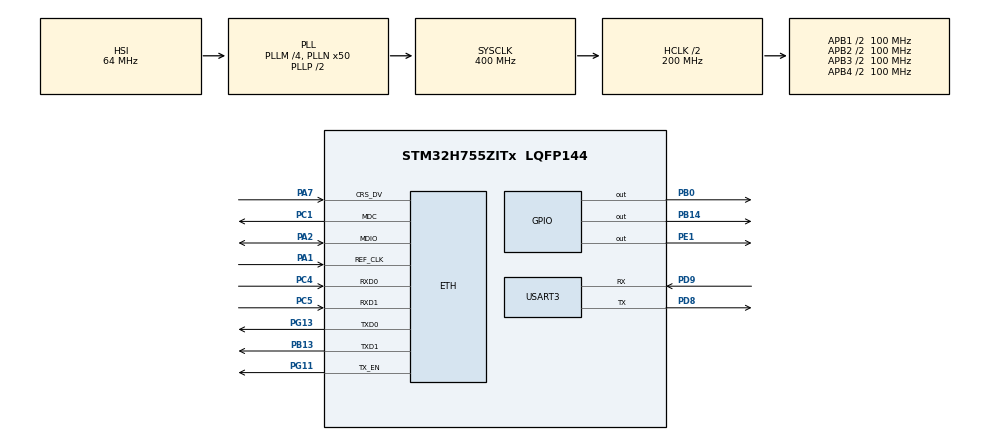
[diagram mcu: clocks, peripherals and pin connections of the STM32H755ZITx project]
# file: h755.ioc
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CortexM4.IPs=BDMA,CORTEX_M4\:I,DEBUG,DMA,FATFS_M4\:I,FREERTOS_M4\:I,GPIO,IWDG2\:I,MDMA,NVIC2\:I,OPENAMP_M4\:I,PDM2PCM_M4\:I,PWR,RCC,RESMGR_UTILITY,SYS_M4\:I,USB_DEVICE_M4\:I,USB_HOST_M4\:I,VREFBUF,WWDG2\:I
CortexM7.IPs=BDMA\:I,CORTEX_M7\:I,DEBUG\:I,DMA\:I,FATFS_M7\:I,FREERTOS_M7\:I,GPIO\:I,IWDG1\:I,MDMA\:I,NVIC1\:I,OPENAMP_M7\:I,PDM2PCM_M7\:I,PWR\:I,RCC\:I,RESMGR_UTILITY\:I,SYS\:I,USB_DEVICE_M7\:I,USB_HOST_M7\:I,VREFBUF\:I,WWDG1\:I,ETH\:I,USART3\:I,RNG\:I
ETH.MediaInterface=HAL_ETH_RMII_MODE
Mcu.Family=STM32H7
Mcu.Name=STM32H755ZITx
Mcu.Package=LQFP144
NVIC1.ETH_IRQn=true\:0\:0\:false\:false\:false\:true\:false\:true
NVIC1.PriorityGroup=NVIC_PRIORITYGROUP_4
NVIC2.PriorityGroup=NVIC_PRIORITYGROUP_4
PA1.Mode=RMII
PA1.PinAttribute=CortexM7
PA1.Signal=ETH_REF_CLK
PA2.Mode=RMII
PA2.PinAttribute=CortexM7
PA2.Signal=ETH_MDIO
PA7.Mode=RMII
PA7.PinAttribute=CortexM7
PA7.Signal=ETH_CRS_DV
PB0.PinAttribute=Free
PB0.Signal=GPIO_Output
PB13.Mode=RMII
PB13.PinAttribute=CortexM7
PB13.Signal=ETH_TXD1
PB14.PinAttribute=Free
PB14.Signal=GPIO_Output
PC1.Mode=RMII
PC1.PinAttribute=CortexM7
PC1.Signal=ETH_MDC
PC4.Mode=RMII
PC4.PinAttribute=CortexM7
PC4.Signal=ETH_RXD0
PC5.Mode=RMII
PC5.PinAttribute=CortexM7
PC5.Signal=ETH_RXD1
PD8.Mode=Asynchronous
PD8.PinAttribute=CortexM7
PD8.Signal=USART3_TX
PD9.Mode=Asynchronous
PD9.PinAttribute=CortexM7
PD9.Signal=USART3_RX
PE1.PinAttribute=Free
PE1.Signal=GPIO_Output
PG11.Mode=RMII
PG11.PinAttribute=CortexM7
PG11.Signal=ETH_TX_EN
PG13.Mode=RMII
PG13.PinAttribute=CortexM7
PG13.Signal=ETH_TXD0
ProjectManager.HeapSize=M4-0x200,M7-0x200
ProjectManager.StackSize=M4-0x400,M7-0x400
ProjectManager.TargetToolchain=STM32CubeIDE
RCC.ADCFreq_Value=129000000
RCC.APB1Freq_Value=100000000
RCC.APB2Freq_Value=100000000
RCC.APB3Freq_Value=100000000
RCC.APB4Freq_Value=100000000
RCC.CortexFreq_Value=400000000
RCC.D1PPRE=RCC_APB3_DIV2
RCC.D2PPRE1=RCC_APB1_DIV2
RCC.D2PPRE2=RCC_APB2_DIV2
RCC.D3PPRE=RCC_APB4_DIV2
RCC.DIVM1=4
RCC.DIVN1=50
RCC.HCLKFreq_Value=200000000
RCC.HPRE=RCC_HCLK_DIV2
RCC.PLL2FRACN=0
RCC.PLL3FRACN=0
RCC.PLLFRACN=0
RCC.SYSCLKFreq_VALUE=400000000
RCC.SYSCLKSource=RCC_SYSCLKSOURCE_PLLCLK
RCC.USBFreq_Value=400000000
SYS.userName=SYS_M7
USART3.VirtualMode-Asynchronous=VM_ASYNC
VP_RNG_VS_RNG.Mode=RNG_Activate
VP_SYS_M4_VS_Systick.Mode=SysTick
board=custom

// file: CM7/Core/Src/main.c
/* USER CODE BEGIN Header */
/**
  ******************************************************************************
  * @file           : main.c
  * @brief          : Main program body
  ******************************************************************************
  * @attention
  *
  * Copyright (c) 2024 STMicroelectronics.
  * All rights reserved.
  *
  * This software is licensed under terms that can be found in the LICENSE file
  * in the root directory of this software component.
  * If no LICENSE file comes with this software, it is provided AS-IS.
  *
  ******************************************************************************
  */
/* USER CODE END Header */
#include "main.h"
#include "string.h"

/* USER CODE BEGIN Includes */
#include "mongoose_glue.h"
/* USER CODE END Includes */

/* USER CODE BEGIN PD */

#ifndef HSEM_ID_0
#define HSEM_ID_0 (0U) /* HW semaphore 0*/
#endif

/* USER CODE END PD */

#if defined ( __ICCARM__ ) /*!< IAR Compiler */
#pragma location=0x30000000
ETH_DMADescTypeDef  DMARxDscrTab[ETH_RX_DESC_CNT]; /* Ethernet Rx DMA Descriptors */
#pragma location=0x30000080
ETH_DMADescTypeDef  DMATxDscrTab[ETH_TX_DESC_CNT]; /* Ethernet Tx DMA Descriptors */

#elif defined ( __CC_ARM )  /* MDK ARM Compiler */

__attribute__((at(0x30000000))) ETH_DMADescTypeDef  DMARxDscrTab[ETH_RX_DESC_CNT]; /* Ethernet Rx DMA Descriptors */
__attribute__((at(0x30000080))) ETH_DMADescTypeDef  DMATxDscrTab[ETH_TX_DESC_CNT]; /* Ethernet Tx DMA Descriptors */

#elif defined ( __GNUC__ ) /* GNU Compiler */

ETH_DMADescTypeDef DMARxDscrTab[ETH_RX_DESC_CNT] __attribute__((section(".RxDescripSection"))); /* Ethernet Rx DMA Descriptors */
ETH_DMADescTypeDef DMATxDscrTab[ETH_TX_DESC_CNT] __attribute__((section(".TxDescripSection")));   /* Ethernet Tx DMA Descriptors */
#endif

ETH_TxPacketConfig TxConfig;

ETH_HandleTypeDef heth;

RNG_HandleTypeDef hrng;

UART_HandleTypeDef huart3;

void SystemClock_Config(void);
static void MX_GPIO_Init(void);
static void MX_ETH_Init(void);
static void MX_RNG_Init(void);
static void MX_USART3_UART_Init(void);

/* USER CODE BEGIN 0 */
bool mg_random(void *buf, size_t len) {  // Use on-board RNG
  for (size_t n = 0; n < len; n += sizeof(uint32_t)) {
    uint32_t r;
    HAL_RNG_GenerateRandomNumber(&hrng, &r);
    memcpy((char *) buf + n, &r, n + sizeof(r) > len ? len - n : sizeof(r));
  }
  return true; // TODO(): ensure successful RNG init, then return on false above
}

uint64_t mg_millis(void) {
  return HAL_GetTick();
}

int _write(int fd, unsigned char *buf, int len) {
  if (fd == 1 || fd == 2) {                     // stdout or stderr ?
    HAL_UART_Transmit(&huart3, buf, len, 999);  // Print to the UART
  }
  return len;
}
/* USER CODE END 0 */

int main(void)
{

/* USER CODE BEGIN Boot_Mode_Sequence_0 */
  int32_t timeout;
/* USER CODE END Boot_Mode_Sequence_0 */

/* USER CODE BEGIN Boot_Mode_Sequence_1 */
  /* Wait until CPU2 boots and enters in stop mode or timeout*/
  timeout = 0xFFFF;
  while((__HAL_RCC_GET_FLAG(RCC_FLAG_D2CKRDY) != RESET) && (timeout-- > 0));
  if ( timeout < 0 )
  {
  Error_Handler();
  }
/* USER CODE END Boot_Mode_Sequence_1 */
  /* MCU Configuration--------------------------------------------------------*/

  /* Reset of all peripherals, Initializes the Flash interface and the Systick. */
  HAL_Init();

  /* Configure the system clock */
  SystemClock_Config();
/* USER CODE BEGIN Boot_Mode_Sequence_2 */
/* When system initialization is finished, Cortex-M7 will release Cortex-M4 by means of
HSEM notification */
/*HW semaphore Clock enable*/
__HAL_RCC_HSEM_CLK_ENABLE();
/*Take HSEM */
HAL_HSEM_FastTake(HSEM_ID_0);
/*Release HSEM in order to notify the CPU2(CM4)*/
HAL_HSEM_Release(HSEM_ID_0,0);
/* wait until CPU2 wakes up from stop mode */
timeout = 0xFFFF;
while((__HAL_RCC_GET_FLAG(RCC_FLAG_D2CKRDY) == RESET) && (timeout-- > 0));
if ( timeout < 0 )
{
Error_Handler();
}
/* USER CODE END Boot_Mode_Sequence_2 */

  /* Initialize all configured peripherals */
  MX_GPIO_Init();
  MX_ETH_Init();
  MX_RNG_Init();
  MX_USART3_UART_Init();
  /* USER CODE BEGIN 2 */
  mongoose_init();
  for (;;) {
    mongoose_poll();
  }
  /* USER CODE END 2 */

  /* Infinite loop */
  while (1)
  {

  }
}

void SystemClock_Config(void)
{
  RCC_OscInitTypeDef RCC_OscInitStruct = {0};
  RCC_ClkInitTypeDef RCC_ClkInitStruct = {0};

  /** Supply configuration update enable
  */
  HAL_PWREx_ConfigSupply(PWR_DIRECT_SMPS_SUPPLY);

  /** Configure the main internal regulator output voltage
  */
  __HAL_PWR_VOLTAGESCALING_CONFIG(PWR_REGULATOR_VOLTAGE_SCALE1);

  while(!__HAL_PWR_GET_FLAG(PWR_FLAG_VOSRDY)) {}

  /** Initializes the RCC Oscillators according to the specified parameters
  * in the RCC_OscInitTypeDef structure.
  */
  RCC_OscInitStruct.OscillatorType = RCC_OSCILLATORTYPE_HSI48|RCC_OSCILLATORTYPE_HSI;
  RCC_OscInitStruct.HSIState = RCC_HSI_DIV1;
  RCC_OscInitStruct.HSICalibrationValue = RCC_HSICALIBRATION_DEFAULT;
  RCC_OscInitStruct.HSI48State = RCC_HSI48_ON;
  RCC_OscInitStruct.PLL.PLLState = RCC_PLL_ON;
  RCC_OscInitStruct.PLL.PLLSource = RCC_PLLSOURCE_HSI;
  RCC_OscInitStruct.PLL.PLLM = 4;
  RCC_OscInitStruct.PLL.PLLN = 50;
  RCC_OscInitStruct.PLL.PLLP = 2;
  RCC_OscInitStruct.PLL.PLLQ = 2;
  RCC_OscInitStruct.PLL.PLLR = 2;
  RCC_OscInitStruct.PLL.PLLRGE = RCC_PLL1VCIRANGE_3;
  RCC_OscInitStruct.PLL.PLLVCOSEL = RCC_PLL1VCOWIDE;
  RCC_OscInitStruct.PLL.PLLFRACN = 0;
  if (HAL_RCC_OscConfig(&RCC_OscInitStruct) != HAL_OK)
  {
    Error_Handler();
  }

  /** Initializes the CPU, AHB and APB buses clocks
  */
  RCC_ClkInitStruct.ClockType = RCC_CLOCKTYPE_HCLK|RCC_CLOCKTYPE_SYSCLK
                              |RCC_CLOCKTYPE_PCLK1|RCC_CLOCKTYPE_PCLK2
                              |RCC_CLOCKTYPE_D3PCLK1|RCC_CLOCKTYPE_D1PCLK1;
  RCC_ClkInitStruct.SYSCLKSource = RCC_SYSCLKSOURCE_PLLCLK;
  RCC_ClkInitStruct.SYSCLKDivider = RCC_SYSCLK_DIV1;
  RCC_ClkInitStruct.AHBCLKDivider = RCC_HCLK_DIV2;
  RCC_ClkInitStruct.APB3CLKDivider = RCC_APB3_DIV2;
  RCC_ClkInitStruct.APB1CLKDivider = RCC_APB1_DIV2;
  RCC_ClkInitStruct.APB2CLKDivider = RCC_APB2_DIV2;
  RCC_ClkInitStruct.APB4CLKDivider = RCC_APB4_DIV2;

  if (HAL_RCC_ClockConfig(&RCC_ClkInitStruct, FLASH_LATENCY_2) != HAL_OK)
  {
    Error_Handler();
  }
}

static void MX_ETH_Init(void)
{

   static uint8_t MACAddr[6];

  heth.Instance = ETH;
  MACAddr[0] = 0x00;
  MACAddr[1] = 0x80;
  MACAddr[2] = 0xE1;
  MACAddr[3] = 0x00;
  MACAddr[4] = 0x00;
  MACAddr[5] = 0x00;
  heth.Init.MACAddr = &MACAddr[0];
  heth.Init.MediaInterface = HAL_ETH_RMII_MODE;
  heth.Init.TxDesc = DMATxDscrTab;
  heth.Init.RxDesc = DMARxDscrTab;
  heth.Init.RxBuffLen = 1536;

  if (HAL_ETH_Init(&heth) != HAL_OK)
  {
    Error_Handler();
  }

  memset(&TxConfig, 0 , sizeof(ETH_TxPacketConfig));
  TxConfig.Attributes = ETH_TX_PACKETS_FEATURES_CSUM | ETH_TX_PACKETS_FEATURES_CRCPAD;
  TxConfig.ChecksumCtrl = ETH_CHECKSUM_IPHDR_PAYLOAD_INSERT_PHDR_CALC;
  TxConfig.CRCPadCtrl = ETH_CRC_PAD_INSERT;

}

static void MX_RNG_Init(void)
{

  hrng.Instance = RNG;
  hrng.Init.ClockErrorDetection = RNG_CED_ENABLE;
  if (HAL_RNG_Init(&hrng) != HAL_OK)
  {
    Error_Handler();
  }

}

static void MX_USART3_UART_Init(void)
{

  huart3.Instance = USART3;
  huart3.Init.BaudRate = 115200;
  huart3.Init.WordLength = UART_WORDLENGTH_8B;
  huart3.Init.StopBits = UART_STOPBITS_1;
  huart3.Init.Parity = UART_PARITY_NONE;
  huart3.Init.Mode = UART_MODE_TX_RX;
  huart3.Init.HwFlowCtl = UART_HWCONTROL_NONE;
  huart3.Init.OverSampling = UART_OVERSAMPLING_16;
  huart3.Init.OneBitSampling = UART_ONE_BIT_SAMPLE_DISABLE;
  huart3.Init.ClockPrescaler = UART_PRESCALER_DIV1;
  huart3.AdvancedInit.AdvFeatureInit = UART_ADVFEATURE_NO_INIT;
  if (HAL_UART_Init(&huart3) != HAL_OK)
  {
    Error_Handler();
  }
  if (HAL_UARTEx_SetTxFifoThreshold(&huart3, UART_TXFIFO_THRESHOLD_1_8) != HAL_OK)
  {
    Error_Handler();
  }
  if (HAL_UARTEx_SetRxFifoThreshold(&huart3, UART_RXFIFO_THRESHOLD_1_8) != HAL_OK)
  {
    Error_Handler();
  }
  if (HAL_UARTEx_DisableFifoMode(&huart3) != HAL_OK)
  {
    Error_Handler();
  }

}

static void MX_GPIO_Init(void)
{

  /* GPIO Ports Clock Enable */
  __HAL_RCC_GPIOC_CLK_ENABLE();
  __HAL_RCC_GPIOA_CLK_ENABLE();
  __HAL_RCC_GPIOB_CLK_ENABLE();
  __HAL_RCC_GPIOD_CLK_ENABLE();
  __HAL_RCC_GPIOG_CLK_ENABLE();

}

void Error_Handler(void)
{
  __disable_irq();
  while (1)
  {
  }
}
